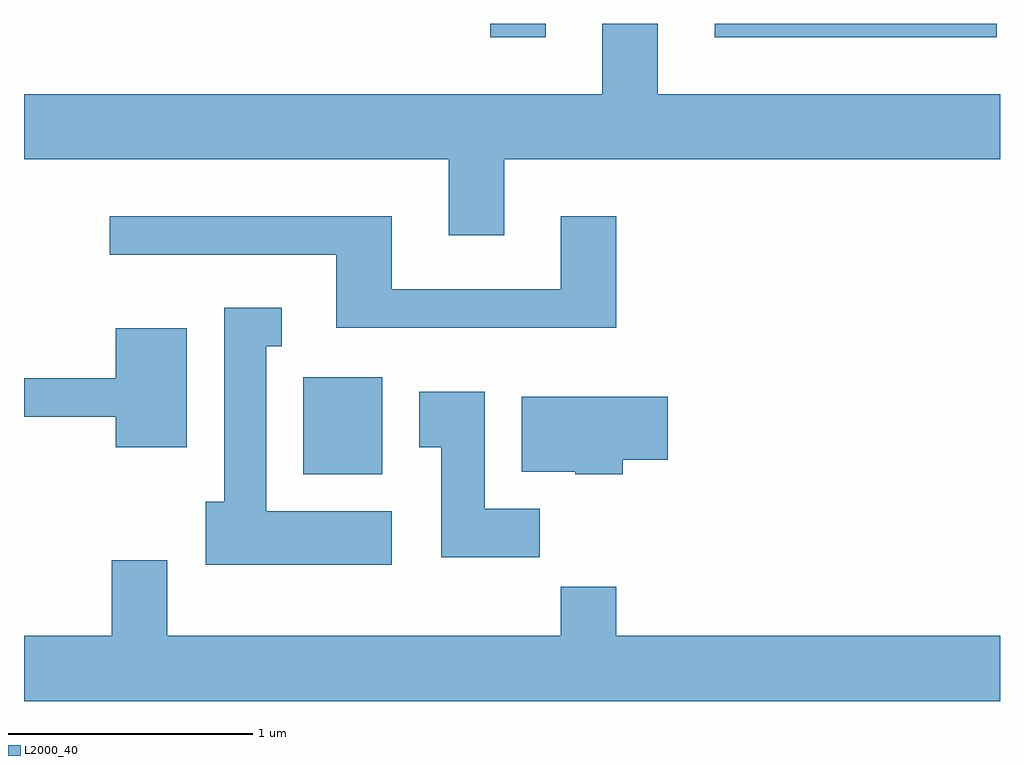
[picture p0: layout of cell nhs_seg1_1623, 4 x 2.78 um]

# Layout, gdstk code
import gdstk
lib = gdstk.Library(unit=1e-6, precision=1e-09)
def R(c, l, rs):  # rectangles x0, y0, x1, y1
    for r in rs: c.add(gdstk.rectangle(r[:2], r[2:], *l))
def P(c, l, *ps):  # polygons
    for p in ps: c.add(gdstk.Polygon(p, *l))
L2000_40 = (2000, 40)

nhs_seg1_1623 = lib.new_cell('nhs_seg1_1623')
R(nhs_seg1_1623, L2000_40, [(236.756,873.866,237.079,874.264), (237.521,875.656,237.749,875.712), (238.441,875.656,239.598,875.712)])
P(nhs_seg1_1623, L2000_40, [(237.579,875.156),(239.611,875.156),(239.611,875.424),(238.209,875.424),(238.209,875.712),(237.981,875.712),(237.981,875.424),(235.611,875.424),(235.611,875.156),(237.351,875.156),(237.351,874.846),(237.579,874.846)],
  [(238.039,874.924),(237.811,874.924),(237.811,874.624),(237.119,874.624),(237.119,874.924),(235.963,874.924),(235.963,874.766),(236.891,874.766),(236.891,874.466),(238.039,874.466)],
  [(237.119,873.714),(236.604,873.714),(236.604,874.391),(236.668,874.391),(236.668,874.549),(236.431,874.549),(236.431,873.754),(236.356,873.754),(236.356,873.496),(237.119,873.496)],
  [(236.279,874.464),(235.986,874.464),(235.986,874.259),(235.611,874.259),(235.611,874.101),(235.986,874.101),(235.986,873.976),(236.279,873.976)],
  [(237.724,873.724),(237.499,873.724),(237.499,874.204),(237.231,874.204),(237.231,873.976),(237.321,873.976),(237.321,873.526),(237.724,873.526)],
  [(238.064,873.926),(238.249,873.926),(238.249,874.184),(237.651,874.184),(237.651,873.876),(237.87,873.876),(237.87,873.866),(238.064,873.866)],
  [(239.611,873.204),(238.039,873.204),(238.039,873.404),(237.811,873.404),(237.811,873.204),(236.199,873.204),(236.199,873.514),(235.971,873.514),(235.971,873.204),(235.611,873.204),(235.611,872.936),(239.611,872.936)])

lib.write_gds('nhs_seg1_1623.gds')
